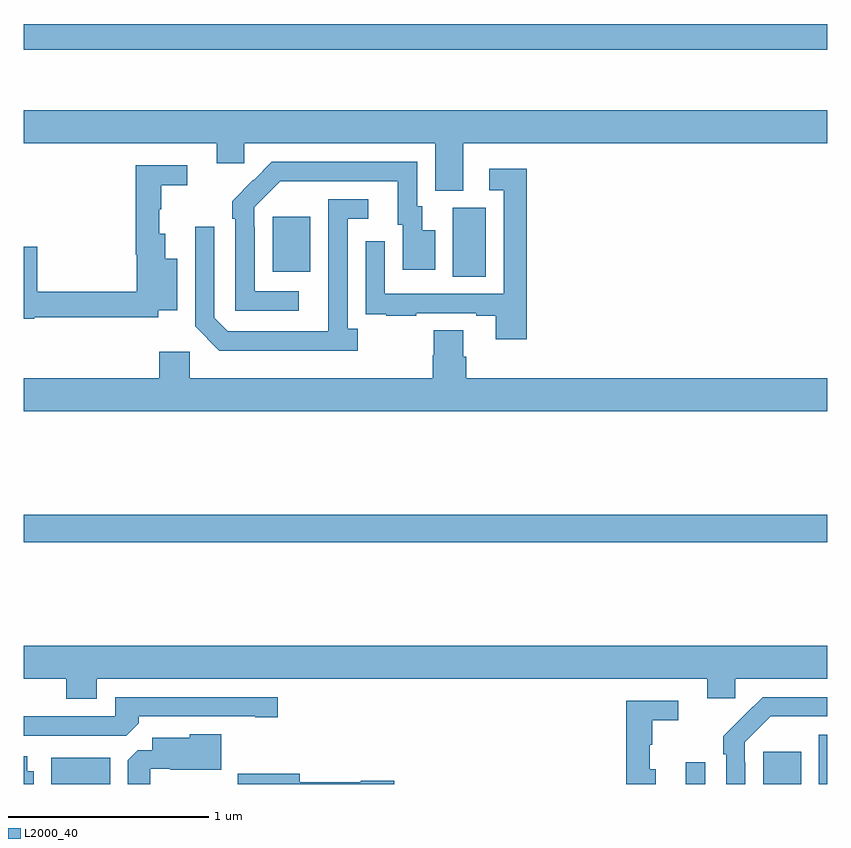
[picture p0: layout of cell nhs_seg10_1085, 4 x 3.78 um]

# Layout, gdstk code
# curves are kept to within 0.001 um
import gdstk
lib = gdstk.Library(unit=1e-6, precision=1e-09)
def R(c, l, rs):  # rectangles x0, y0, x1, y1
    for r in rs: c.add(gdstk.rectangle(r[:2], r[2:], *l))
def P(c, l, *ps):  # polygons
    for p in ps: c.add(gdstk.Polygon(p, *l))
L2000_40 = (2000, 40)

nhs_seg10_1085 = lib.new_cell('nhs_seg10_1085')
R(nhs_seg10_1085, L2000_40, [(167.138,1258.5,167.431,1258.63), (170.295,1258.5,170.391,1258.609), (170.681,1258.5,170.869,1258.66), (170.958,1258.5,171,1258.746), (167,1259.704,171,1259.84), (169.136,1261.024,169.3,1261.368), (168.239,1261.049,168.427,1261.324), (167,1262.154,171,1262.282)])
P(nhs_seg10_1085, L2000_40, [(169.189,1261.688),(171,1261.688),(171,1261.852),(167,1261.852),(167,1261.688),(167.96,1261.688),(167.96,1261.59),(168.099,1261.59),(168.099,1261.688),(169.049,1261.688),(169.049,1261.453),(169.189,1261.453)],
  [(168.37,1260.951),(168.15,1260.951),(168.15,1261.271),(168.147,1261.271),(168.147,1261.371),(168.276,1261.5),(168.863,1261.5),(168.863,1261.284),(168.887,1261.284),(168.887,1261.059),(169.048,1261.059),(169.048,1261.255),(168.985,1261.255),(168.985,1261.374),(168.96,1261.374),(168.96,1261.596),(168.236,1261.596),(168.039,1261.401),(168.039,1261.313),(168.054,1261.313),(168.054,1260.855),(168.37,1260.855)],
  [(167.052,1260.822),(167.67,1260.822),(167.67,1260.857),(167.764,1260.857),(167.764,1261.114),(167.704,1261.114),(167.704,1261.237),(167.675,1261.237),(167.675,1261.359),(167.686,1261.359),(167.686,1261.48),(167.815,1261.48),(167.815,1261.578),(167.557,1261.578),(167.557,1261.133),(167.564,1261.133),(167.564,1260.95),(167.069,1260.95),(167.069,1261.174),(167,1261.174),(167,1260.814),(167.052,1260.814)],
  [(169.505,1261.561),(169.317,1261.561),(169.317,1261.455),(169.389,1261.455),(169.389,1260.939),(168.798,1260.939),(168.798,1261.201),(168.702,1261.201),(168.702,1260.946),(168.703,1260.946),(168.703,1260.837),(168.805,1260.837),(168.805,1260.831),(168.953,1260.831),(168.953,1260.843),(169.253,1260.843),(169.253,1260.831),(169.349,1260.831),(169.349,1260.714),(169.505,1260.714)],
  [(168.664,1260.766),(168.612,1260.766),(168.612,1261.314),(168.715,1261.314),(168.715,1261.41),(168.516,1261.41),(168.515,1260.753),(168.015,1260.753),(167.949,1260.819),(167.949,1261.273),(167.853,1261.273),(167.853,1260.777),(167.974,1260.656),(168.664,1260.656)],
  [(171,1260.52),(169.202,1260.52),(169.202,1260.626),(169.189,1260.626),(169.189,1260.758),(169.042,1260.758),(169.042,1260.633),(169.037,1260.633),(169.037,1260.52),(167.826,1260.52),(167.826,1260.652),(167.675,1260.652),(167.675,1260.52),(167,1260.52),(167,1260.356),(171,1260.356)],
  [(167.365,1259.024),(170.402,1259.024),(170.402,1258.926),(170.541,1258.926),(170.541,1259.024),(171,1259.024),(171,1259.188),(167,1259.188),(167,1259.024),(167.213,1259.024),(167.213,1258.925),(167.365,1258.925)],
  [(167.573,1258.802),(167.573,1258.836),(168.152,1258.836),(168.152,1258.831),(168.265,1258.831),(168.265,1258.932),(167.457,1258.932),(167.457,1258.836),(167,1258.836),(167,1258.74),(167.511,1258.74)],
  [(170.592,1258.607),(170.589,1258.607),(170.589,1258.707),(170.718,1258.836),(171,1258.836),(171,1258.932),(170.678,1258.932),(170.481,1258.737),(170.481,1258.649),(170.496,1258.649),(170.496,1258.5),(170.592,1258.5)],
  [(170.146,1258.573),(170.117,1258.573),(170.117,1258.695),(170.128,1258.695),(170.128,1258.816),(170.257,1258.816),(170.257,1258.914),(169.999,1258.914),(169.999,1258.5),(170.146,1258.5)],
  [(167.631,1258.575),(167.731,1258.575),(167.731,1258.571),(167.983,1258.571),(167.983,1258.747),(167.826,1258.747),(167.826,1258.729),(167.639,1258.729),(167.639,1258.668),(167.568,1258.668),(167.519,1258.619),(167.519,1258.5),(167.631,1258.5)],
  [(167.05,1258.564),(167.017,1258.564),(167.017,1258.639),(167,1258.639),(167,1258.5),(167.05,1258.5)],
  [(168.845,1258.516),(168.678,1258.516),(168.678,1258.508),(168.373,1258.508),(168.373,1258.552),(168.066,1258.552),(168.066,1258.5),(168.845,1258.5)])

lib.write_gds('nhs_seg10_1085.gds')
